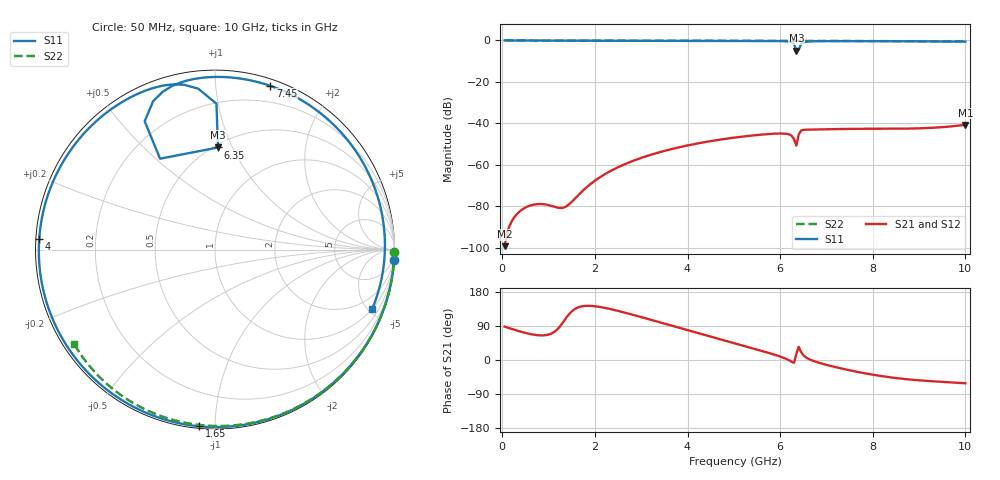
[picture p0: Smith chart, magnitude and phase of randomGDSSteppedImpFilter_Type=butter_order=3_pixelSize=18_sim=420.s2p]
! freq	dB(S11)	phase(S11)	dB(S12)	phase(S12)
!  dB(S21)	phase(S21)	dB(S22)	phase(S22)
!S-par simulation data
#  GHz  S  DB  R 50
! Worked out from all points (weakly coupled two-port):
!   200 points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, 50 MHz to 10 GHz, reference 50 ohm
!   highest |S21| = -40.71 dB at 10 GHz (marker M1); lowest = -99.2 dB at 50 MHz (marker M2)
!   lowest |S11| = -4.9 dB at 6.35 GHz (marker M3), VSWR 3.64, Z = 26.2 + j44.1 ohm
!   |S11| at or under -10 dB: nowhere
!   |S22| runs from -0.5 to 0.0 dB; largest |S21 - S12| = 0
!   S11 on the Smith chart (normalised r, x): 50 MHz: 0, -35; 1.65 GHz: 0.01, -0.92; 4 GHz: 0.01, +0.03; 6.35 GHz: 0.52, +0.88; 7.45 GHz: 0.06, +1.39; 10 GHz: 0.99, -5.31
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0.05  -0.00 -3.2  -99.23 88.0  -99.23 88.0  -0.00 -0.9
0.45  -0.04 -28.5  -81.24 73.1  -81.24 73.1  -0.01 -7.6
0.9  -0.07 -55.5  -79.01 65.0  -79.01 65.0  -0.02 -15.1
1.4  -0.09 -82.6  -79.78 114.5  -79.78 114.5  -0.03 -23.4
1.65  -0.10 -95.0  -74.40 139.3  -74.40 139.3  -0.03 -27.5
1.75  -0.11 -99.7  -72.23 142.3  -72.23 142.3  -0.04 -29.1
2.45  -0.12 -129.8  -61.69 131.1  -61.69 131.1  -0.05 -40.4
3.4  -0.15 -164.1  -53.88 99.5  -53.88 99.5  -0.07 -55.4
4  -0.17 176.4  -50.65 78.8  -50.65 78.8  -0.09 -64.5
5.05  -0.21 143.8  -46.75 42.9  -46.75 42.9  -0.12 -79.9
5.75  -0.25 121.2  -45.15 18.8  -45.15 18.8  -0.15 -89.8
6.15  -0.45 104.1  -45.08 1.9  -45.08 1.9  -0.17 -95.4
6.3  -1.80 89.4  -47.66 -7.3  -47.66 -7.3  -0.18 -97.4
6.35  -4.90 88.3  -50.75 16.0  -50.75 16.0  -0.18 -98.1
6.4  -4.56 121.1  -45.44 34.9  -45.44 34.9  -0.18 -98.8
6.45  -1.78 118.7  -43.48 21.2  -43.48 21.2  -0.19 -99.5
6.55  -0.66 108.2  -43.05 7.5  -43.05 7.5  -0.19 -100.8
6.7  -0.40 99.5  -42.99 -1.6  -42.99 -1.6  -0.20 -102.8
7.45  -0.33 71.3  -42.67 -25.9  -42.67 -25.9  -0.25 -112.8
8.35  -0.37 39.5  -42.58 -45.3  -42.58 -45.3  -0.32 -124.6
9.2  -0.45 8.8  -42.22 -55.4  -42.22 -55.4  -0.40 -135.7
10  -0.57 -20.6  -40.71 -61.5  -40.71 -61.5  -0.49 -146.1
